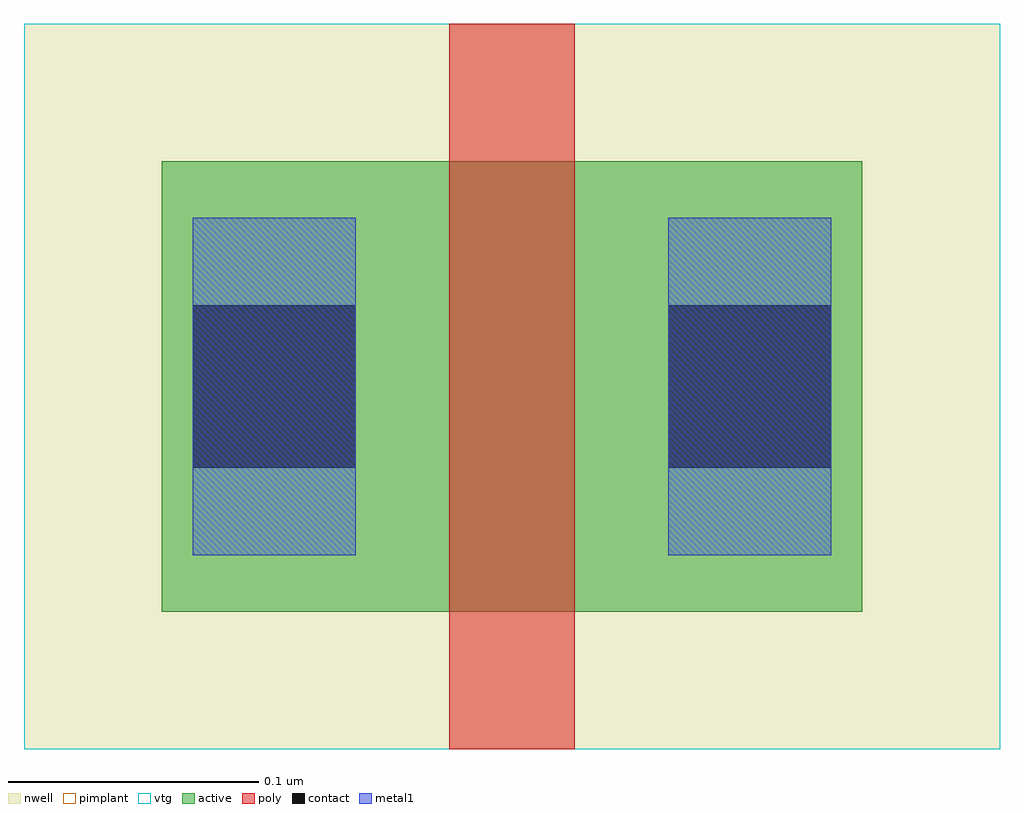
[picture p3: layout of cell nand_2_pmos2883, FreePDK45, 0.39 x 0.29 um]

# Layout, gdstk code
import gdstk
lib = gdstk.Library(unit=1e-6, precision=5e-10)
def R(c, l, rs):  # rectangles x0, y0, x1, y1
    for r in rs: c.add(gdstk.rectangle(r[:2], r[2:], *l))
active = (1, 0)
nwell = (3, 0)
pimplant = (5, 0)
vtg = (6, 0)
poly = (9, 0)
contact = (10, 0)
metal1 = (11, 0)

contact_1x1_num12673 = lib.new_cell('contact_1x1_num12673')
R(contact_1x1_num12673, active, [(0,0.0225,0.09,0.1125)])
R(contact_1x1_num12673, contact, [(0.0125,0.035,0.0775,0.1)])
R(contact_1x1_num12673, metal1, [(0.0125,0,0.0775,0.135)])

contact_1x1_num12674 = lib.new_cell('contact_1x1_num12674')
R(contact_1x1_num12674, active, [(0,0.0225,0.09,0.1125)])
R(contact_1x1_num12674, contact, [(0.0125,0.035,0.0775,0.1)])
R(contact_1x1_num12674, metal1, [(0.0125,0,0.0775,0.135)])

nand_2_pmos2883 = lib.new_cell('nand_2_pmos2883')
R(nand_2_pmos2883, active, [(0.055,0.055,0.335,0.235)])
R(nand_2_pmos2883, nwell, [(0,0,0.39,0.29)])
R(nand_2_pmos2883, pimplant, [(0.055,0.055,0.335,0.235)])
R(nand_2_pmos2883, vtg, [(0,0,0.39,0.29)])
R(nand_2_pmos2883, poly, [(0.17,0,0.22,0.29)])
nand_2_pmos2883.add(gdstk.Reference(contact_1x1_num12673, (0.055,0.0775)))
nand_2_pmos2883.add(gdstk.Reference(contact_1x1_num12674, (0.245,0.0775)))

lib.write_gds('nand_2_pmos2883.gds')
